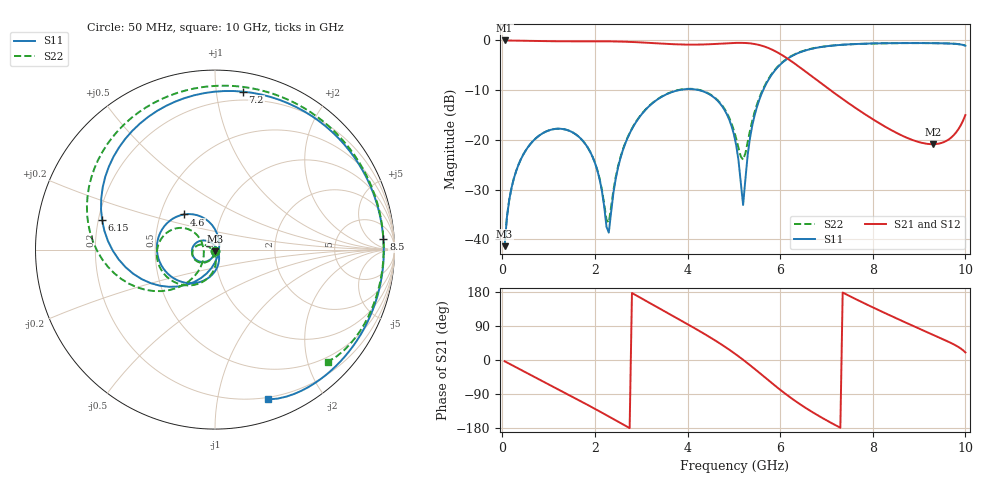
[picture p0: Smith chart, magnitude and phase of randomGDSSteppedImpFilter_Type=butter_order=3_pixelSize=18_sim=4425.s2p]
! freq	dB(S11)	phase(S11)	dB(S12)	phase(S12)
!  dB(S21)	phase(S21)	dB(S22)	phase(S22)
!S-par simulation data
#  GHz  S  DB  R 50
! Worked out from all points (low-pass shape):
!   200 points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, 50 MHz to 10 GHz, reference 50 ohm
!   highest |S21| = -0.01 dB at 50 MHz (marker M1); lowest = -20.9 dB at 9.3 GHz (marker M2)
!   |S21| within 3 dB of the highest: start of sweep to 6.051 GHz
!   lowest |S11| = -41.4 dB at 50 MHz (marker M3), VSWR 1.02, Z = 50 - j0.852 ohm
!   |S11| at or under -10 dB: start of sweep to 3.813 GHz; 4.244 GHz to 5.633 GHz (1.389 GHz wide, 28.1 % of centre)
!   |S22| runs from -41.4 to -0.5 dB; largest |S21 - S12| = 0
!   S11 on the Smith chart (normalised r, x): 50 MHz: 1.00, -0.02; 4.6 GHz: 0.66, +0.28; 6.15 GHz: 0.22, +0.12; 7.2 GHz: 0.14, +1.18; 8.5 GHz: 16, +16; 10 GHz: 0.18, -1.40
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0.05  -41.39 -90.6  -0.01 -3.3  -0.01 -3.3  -41.39 -90.3
0.2  -29.64 -102.9  -0.03 -13.0  -0.03 -13.0  -29.64 -101.8
0.55  -21.53 -127.1  -0.08 -35.5  -0.08 -35.5  -21.52 -124.3
1.15  -17.80 -167.6  -0.17 -73.7  -0.17 -73.7  -17.79 -160.8
1.75  -20.32 149.9  -0.18 -112.4  -0.18 -112.4  -20.32 165.0
2.05  -26.05 123.2  -0.17 -132.2  -0.17 -132.2  -26.00 154.0
2.3  -38.67 10.2  -0.19 -149.0  -0.19 -149.0  -36.63 -131.3
2.65  -20.87 -79.9  -0.26 -172.9  -0.26 -172.9  -20.76 -89.4
3.4  -11.57 -138.1  -0.62 135.5  -0.62 135.5  -11.53 -132.0
4  -9.79 178.1  -0.84 94.5  -0.84 94.5  -9.74 -168.8
4.6  -11.70 131.1  -0.71 51.3  -0.71 51.3  -11.59 154.9
5.05  -21.03 82.4  -0.49 14.3  -0.49 14.3  -19.71 144.3
5.2  -33.10 -11.7  -0.50 0.7  -0.50 0.7  -24.01 -170.7
5.35  -19.56 -101.0  -0.59 -13.7  -0.59 -13.7  -18.12 -129.7
5.5  -13.34 -122.9  -0.81 -28.6  -0.81 -28.6  -12.87 -129.4
6.15  -3.74 165.3  -3.60 -92.6  -3.60 -92.6  -3.66 -179.3
6.7  -1.64 116.7  -7.33 -137.8  -7.33 -137.8  -1.61 139.1
7.2  -0.97 80.0  -10.79 -172.4  -10.79 -172.4  -0.97 106.6
8.35  -0.55 11.4  -17.79 118.9  -17.79 118.9  -0.57 41.9
8.5  -0.54 3.6  -18.54 110.5  -18.54 110.5  -0.55 34.0
9.3  -0.55 -34.8  -20.87 66.5  -20.87 66.5  -0.55 -6.2
10  -1.06 -70.5  -15.01 20.0  -15.01 20.0  -1.05 -44.9
